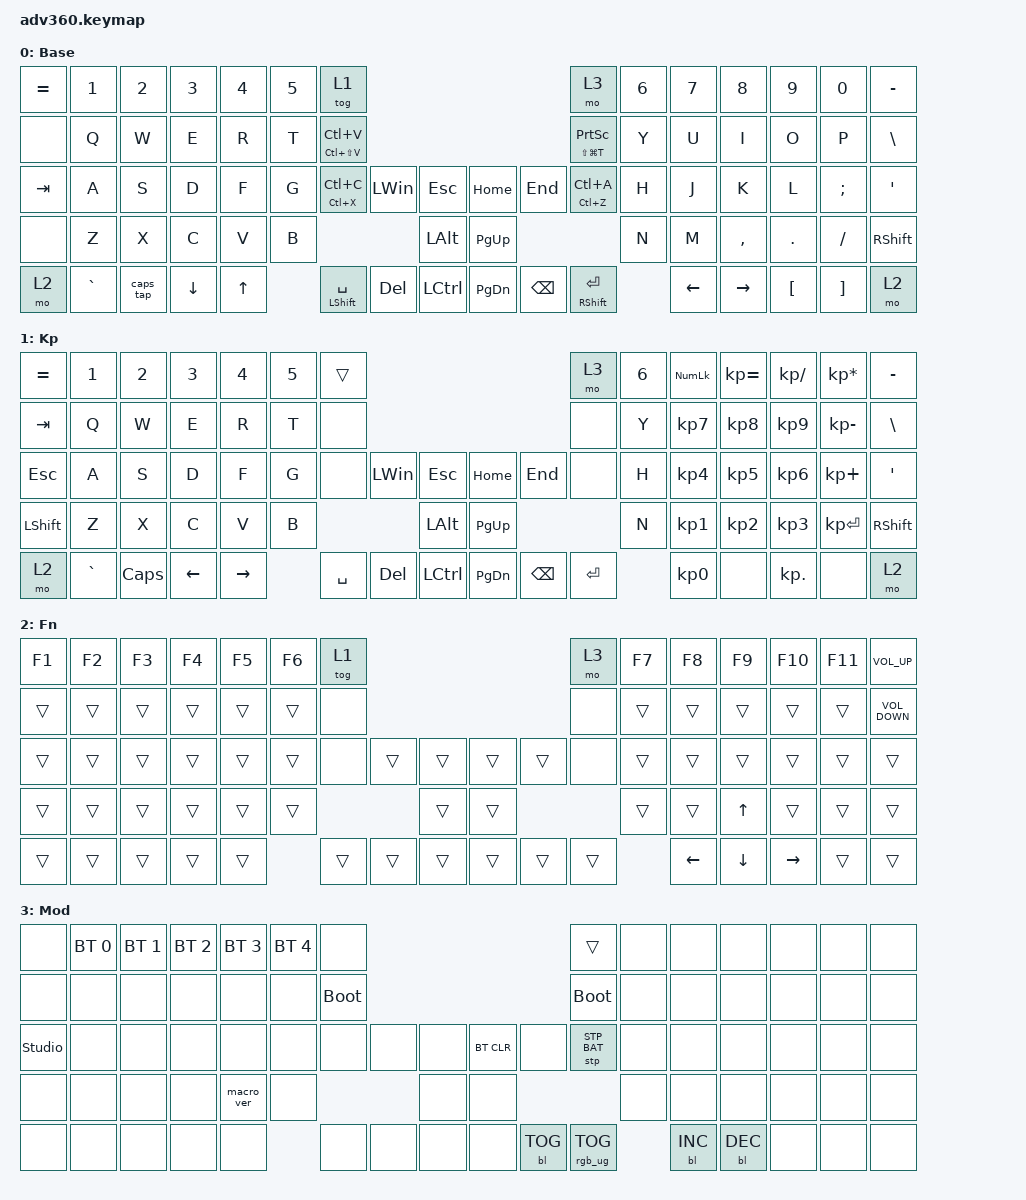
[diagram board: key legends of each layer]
#include <dt-bindings/zmk/stp.h>
#include <behaviors.dtsi>
#include <dt-bindings/zmk/backlight.h>
#include <dt-bindings/zmk/bt.h>
#include <dt-bindings/zmk/keys.h>
#include <dt-bindings/zmk/rgb.h>

&mt {
    flavor = "hold-preferred";
    tapping-term-ms = <300>;
};

/ {
    behaviors {
        #include "macros.dtsi"
      #include "version.dtsi"

        hm: homerow_mods {
            compatible = "zmk,behavior-hold-tap";
            label = "HOMEROW_MODS";
            #binding-cells = <2>;
            tapping-term-ms = <200>;
            quick_tap_ms = <175>;
            flavor = "tap-preferred";
            bindings = <&kp>, <&kp>;
        };

        caps_word_custom: caps_word_custom {
            compatible = "zmk,behavior-caps-word";
            label = "CAPS_WORD_CUSTOM";
            #binding-cells = <0>;
            continue-list = <A B C D E F G H I J K L M N O P Q R S T U V W X Y Z UNDERSCORE POUND BACKSPACE DELETE NUMBER_1 NUMBER_2 NUMBER_3 NUMBER_4 NUMBER_5 NUMBER_6 NUMBER_7 NUMBER_8 NUMBER_9 NUMBER_0>;
        };

        caps_tap: caps_tap {
            compatible = "zmk,behavior-tap-dance";
            label = "CAPS_TAP";
            #binding-cells = <0>;
            bindings = <&caps_word_custom>, <&kp CAPS>;
        };
    };

    keymap {
        compatible = "zmk,keymap";

        default_layer {
            display-name = "Base";
            bindings = <
&kp EQUAL  &kp N1     &kp N2     &kp N3    &kp N4        &kp N5  &tog 1                                                                          &mo 3                      &kp N6  &kp N7    &kp N8     &kp N9    &kp N0    &kp MINUS
&none      &kp Q      &kp W      &kp E     &kp R         &kp T   &mt LC(LS(V)) LC(V)                                                             &mt LS(LG(T)) PRINTSCREEN  &kp Y   &kp U     &kp I      &kp O     &kp P     &kp BSLH
&kp TAB    &kp A      &kp S      &kp D     &kp F         &kp G   &mt LC(X) LC(C)       &kp LEFT_WIN  &kp ESCAPE        &kp HOME   &kp END        &mt LC(Z) LC(A)            &kp H   &kp J     &kp K      &kp L     &kp SEMI  &kp SQT
&none      &kp Z      &kp X      &kp C     &kp V         &kp B                                       &kp LEFT_ALT      &kp PG_UP                                            &kp N   &kp M     &kp COMMA  &kp DOT   &kp FSLH  &kp RSHFT
&mo 2      &kp GRAVE  &caps_tap  &kp DOWN  &kp UP_ARROW          &mt LEFT_SHIFT SPACE  &kp DEL       &kp LCTRL         &kp PG_DN  &kp BACKSPACE  &mt RIGHT_SHIFT ENTER              &kp LEFT  &kp RIGHT  &kp LBKT  &kp RBKT  &mo 2
            >;
        };

        keypad {
            display-name = "Kp";
            bindings = <
&kp EQUAL  &kp N1     &kp N2    &kp N3    &kp N4     &kp N5  &trans                                                               &mo 3      &kp N6  &kp KP_NUM       &kp KP_EQUAL  &kp KP_DIVIDE  &kp KP_MULTIPLY  &kp MINUS
&kp TAB    &kp Q      &kp W     &kp E     &kp R      &kp T   &none                                                                &none      &kp Y   &kp KP_N7        &kp KP_N8     &kp KP_N9      &kp KP_MINUS     &kp BSLH
&kp ESC    &kp A      &kp S     &kp D     &kp F      &kp G   &none      &kp LEFT_WIN  &kp ESC           &kp HOME   &kp END        &none      &kp H   &kp KP_N4        &kp KP_N5     &kp KP_N6      &kp KP_PLUS      &kp SQT
&kp LSHFT  &kp Z      &kp X     &kp C     &kp V      &kp B                            &kp LEFT_ALT      &kp PG_UP                            &kp N   &kp KP_N1        &kp KP_N2     &kp KP_N3      &kp KP_ENTER     &kp RSHFT
&mo 2      &kp GRAVE  &kp CAPS  &kp LEFT  &kp RIGHT          &kp SPACE  &kp DEL       &kp LCTRL         &kp PG_DN  &kp BACKSPACE  &kp ENTER          &kp KP_NUMBER_0  &none         &kp KP_DOT     &none            &mo 2
            >;
        };

        fn {
            display-name = "Fn";
            bindings = <
&kp F1  &kp F2  &kp F3  &kp F4  &kp F5  &kp F6  &tog 1                                      &mo 3   &kp F7  &kp F8          &kp F9          &kp F10          &kp F11  &kp C_VOLUME_UP
&trans  &trans  &trans  &trans  &trans  &trans  &none                                       &none   &trans  &trans          &trans          &trans           &trans   &kp C_VOLUME_DOWN
&trans  &trans  &trans  &trans  &trans  &trans  &none   &trans  &trans      &trans  &trans  &none   &trans  &trans          &trans          &trans           &trans   &trans
&trans  &trans  &trans  &trans  &trans  &trans                  &trans      &trans                  &trans  &trans          &kp UP_ARROW    &trans           &trans   &trans
&trans  &trans  &trans  &trans  &trans          &trans  &trans  &trans      &trans  &trans  &trans          &kp LEFT_ARROW  &kp DOWN_ARROW  &kp RIGHT_ARROW  &trans   &trans
            >;
        };

        mod {
            display-name = "Mod";
            bindings = <
&none           &bt BT_SEL 0  &bt BT_SEL 1  &bt BT_SEL 2  &bt BT_SEL 3  &bt BT_SEL 4  &none                                                  &trans           &none  &none       &none       &none  &none  &none
&none           &none         &none         &none         &none         &none         &bootloader                                            &bootloader      &none  &none       &none       &none  &none  &none
&studio_unlock  &none         &none         &none         &none         &none         &none        &none  &none      &bt BT_CLR  &none       &stp STP_BAT     &none  &none       &none       &none  &none  &none
&none           &none         &none         &none         &macro_ver    &none                             &none      &none                                    &none  &none       &none       &none  &none  &none
&none           &none         &none         &none         &none                       &none        &none  &none      &none       &bl BL_TOG  &rgb_ug RGB_TOG         &bl BL_INC  &bl BL_DEC  &none  &none  &none
            >;
        };

        extra1 {
            display-name = "Red";
            status = "reserved";
        };

        extra2 {
            display-name = "Purple";
            status = "reserved";
        };

        extra3 {
            display-name = "Cyan";
            status = "reserved";
        };

        extra4 {
            display-name = "Yellow";
            status = "reserved";
        };
    };
};
